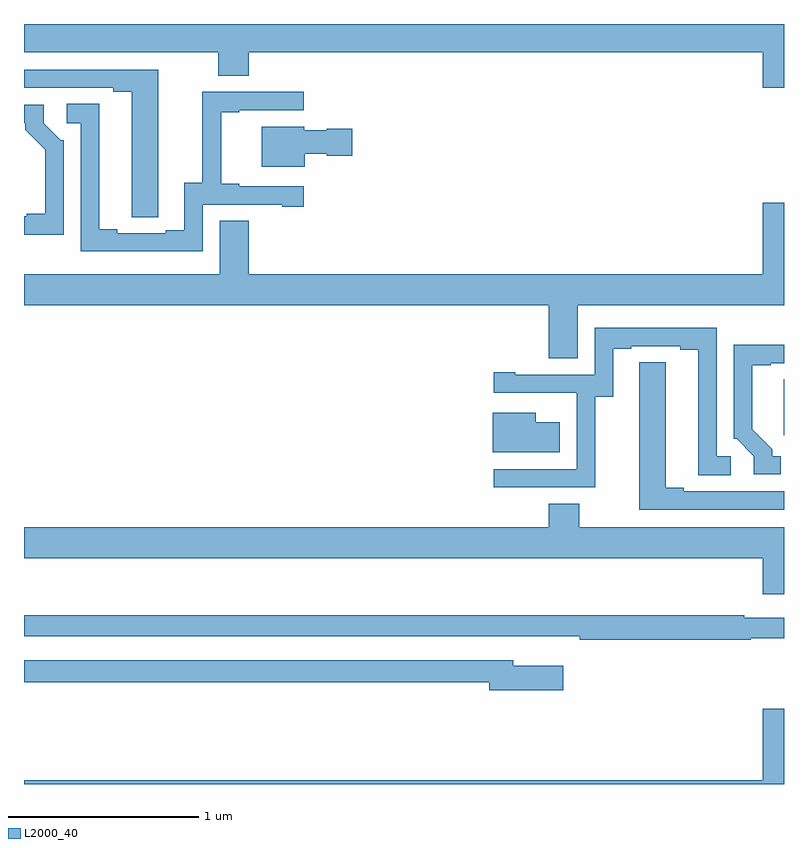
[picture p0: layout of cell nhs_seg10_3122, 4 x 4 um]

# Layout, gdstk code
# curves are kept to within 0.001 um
import gdstk
lib = gdstk.Library(unit=1e-6, precision=1e-09)
def R(c, l, rs):  # rectangles x0, y0, x1, y1
    for r in rs: c.add(gdstk.rectangle(r[:2], r[2:], *l))
def P(c, l, *ps):  # polygons
    for p in ps: c.add(gdstk.Polygon(p, *l))
L2000_40 = (2000, 40)

nhs_seg10_3122 = lib.new_cell('nhs_seg10_3122')
R(nhs_seg10_3122, L2000_40, [(284.999,1262.336,285,1262.63)])
P(nhs_seg10_3122, L2000_40, [(285,1264.5),(281,1264.5),(281,1264.352),(282.022,1264.352),(282.022,1264.228),(282.182,1264.228),(282.182,1264.352),(284.888,1264.352),(284.888,1264.164),(285,1264.164)],
  [(281.706,1263.592),(281.707,1263.592),(281.707,1264.26),(281,1264.26),(281,1264.164),(281.471,1264.164),(281.471,1264.144),(281.567,1264.144),(281.567,1263.484),(281.706,1263.484)],
  [(281.94,1263.549),(282.359,1263.549),(282.359,1263.537),(282.472,1263.537),(282.472,1263.645),(282.133,1263.645),(282.133,1263.658),(282.038,1263.658),(282.038,1264.035),(282.133,1264.035),(282.133,1264.047),(282.472,1264.047),(282.472,1264.143),(281.938,1264.143),(281.938,1263.665),(281.843,1263.665),(281.843,1263.414),(281.747,1263.414),(281.747,1263.399),(281.491,1263.399),(281.491,1263.419),(281.395,1263.419),(281.395,1264.079),(281.226,1264.079),(281.226,1263.978),(281.298,1263.978),(281.298,1263.303),(281.94,1263.303)],
  [(281.208,1263.888),(281.193,1263.888),(281.103,1263.978),(281.103,1264.074),(281,1264.074),(281,1263.978),(281.006,1263.978),(281.006,1263.943),(281.111,1263.838),(281.111,1263.502),(281.015,1263.502),(281.015,1263.489),(281,1263.489),(281,1263.392),(281.208,1263.392)],
  [(282.478,1263.818),(282.594,1263.818),(282.594,1263.806),(282.727,1263.806),(282.727,1263.948),(282.594,1263.948),(282.594,1263.94),(282.474,1263.94),(282.474,1263.958),(282.251,1263.958),(282.251,1263.749),(282.478,1263.749)],
  [(283.915,1263.02),(285,1263.02),(285,1263.559),(284.888,1263.559),(284.888,1263.184),(282.182,1263.184),(282.182,1263.464),(282.029,1263.464),(282.029,1263.184),(281,1263.184),(281,1263.02),(283.763,1263.02),(283.763,1262.74),(283.915,1262.74)],
  [(284.007,1262.539),(284.101,1262.539),(284.101,1262.79),(284.197,1262.79),(284.197,1262.805),(284.453,1262.805),(284.453,1262.785),(284.549,1262.785),(284.549,1262.125),(284.719,1262.125),(284.719,1262.226),(284.646,1262.226),(284.646,1262.901),(284.004,1262.901),(284.004,1262.655),(283.585,1262.655),(283.585,1262.668),(283.473,1262.668),(283.473,1262.559),(283.907,1262.559),(283.907,1262.558),(283.908,1262.558),(283.908,1262.157),(283.473,1262.157),(283.473,1262.061),(284.007,1262.061)],
  [(284.983,1262.226),(284.938,1262.226),(284.938,1262.261),(284.833,1262.366),(284.833,1262.703),(284.929,1262.703),(284.929,1262.715),(285,1262.715),(285,1262.811),(284.999,1262.813),(284.736,1262.813),(284.736,1262.316),(284.751,1262.316),(284.841,1262.226),(284.841,1262.13),(284.983,1262.13)],
  [(285,1262.04),(284.473,1262.04),(284.473,1262.06),(284.377,1262.06),(284.377,1262.72),(284.238,1262.72),(284.238,1262.612),(284.237,1262.612),(284.237,1261.944),(285,1261.944)],
  [(283.819,1262.404),(283.693,1262.404),(283.693,1262.455),(283.466,1262.455),(283.466,1262.246),(283.819,1262.246)],
  [(285,1261.852),(283.923,1261.852),(283.923,1261.976),(283.763,1261.976),(283.763,1261.852),(281,1261.852),(281,1261.688),(284.888,1261.688),(284.888,1261.5),(285,1261.5)],
  [(284.824,1261.266),(285,1261.266),(285,1261.374),(284.792,1261.374),(284.792,1261.387),(281,1261.387),(281,1261.278),(283.672,1261.278),(283.672,1261.277),(283.924,1261.277),(283.924,1261.258),(284.824,1261.258)],
  [(283.837,1261.123),(283.576,1261.123),(283.576,1261.152),(281,1261.152),(281,1261.036),(283.448,1261.036),(283.448,1260.994),(283.837,1260.994)],
  [(285,1260.895),(284.888,1260.895),(284.888,1260.52),(281,1260.52),(281,1260.5),(285,1260.5)])

lib.write_gds('nhs_seg10_3122.gds')
